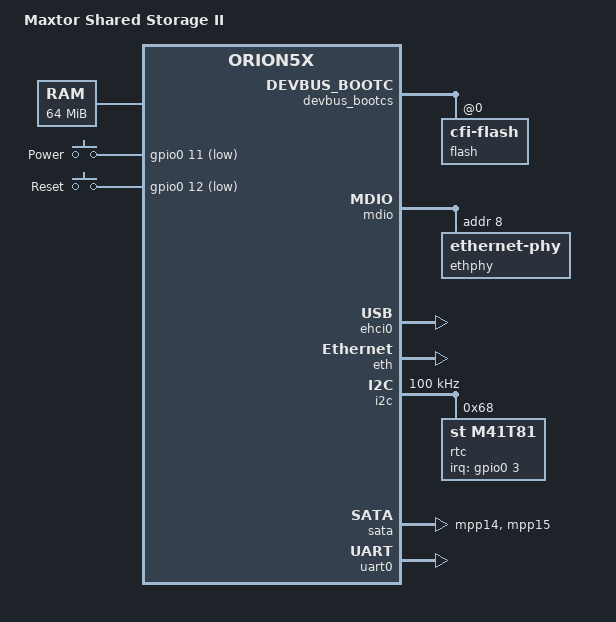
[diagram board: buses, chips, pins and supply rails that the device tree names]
/*
 * Copyright (C) 2014 Thomas Petazzoni <thomas.petazzoni@free-electrons.com>
 * Copyright (C) Sylver Bruneau <sylver.bruneau@googlemail.com>
 *
 * This file is licensed under the terms of the GNU General Public
 * License version 2. This program is licensed "as is" without any
 * warranty of any kind, whether express or implied.
 */

/dts-v1/;

#include <dt-bindings/gpio/gpio.h>
#include <dt-bindings/input/input.h>
#include <dt-bindings/interrupt-controller/irq.h>
#include "orion5x-mv88f5182.dtsi"

/ {
	model = "Maxtor Shared Storage II";
	compatible = "maxtor,shared-storage-2", "marvell,orion5x-88f5182", "marvell,orion5x";

	memory {
		reg = <0x00000000 0x4000000>; /* 64 MB */
	};

	chosen {
		bootargs = "console=ttyS0,115200n8 earlyprintk";
		stdout-path = &uart0;
	};

	soc {
		ranges = <MBUS_ID(0xf0, 0x01) 0 0xf1000000 0x100000>,
			 <MBUS_ID(0x09, 0x00) 0 0xf2200000 0x800>,
			 <MBUS_ID(0x01, 0x0f) 0 0xff800000 0x40000>;
	};

	gpio-keys {
		compatible = "gpio-keys";
		pinctrl-0 = <&pmx_buttons>;
		pinctrl-names = "default";
		#address-cells = <1>;
		#size-cells = <0>;
		power {
			label = "Power";
			linux,code = <KEY_POWER>;
			gpios = <&gpio0 11 GPIO_ACTIVE_LOW>;
		};

		reset {
			label = "Reset";
			linux,code = <KEY_RESTART>;
			gpios = <&gpio0 12 GPIO_ACTIVE_LOW>;
		};
	};
};

&devbus_bootcs {
	status = "okay";

	devbus,keep-config;

	/*
	 * Currently the MTD code does not recognize the MX29LV400CBCT
	 * as a bottom-type device. This could cause risks of
	 * accidentally erasing critical flash sectors. We thus define
	 * a single, write-protected partition covering the whole
	 * flash.  TODO: once the flash part TOP/BOTTOM detection
	 * issue is sorted out in the MTD code, break this into at
	 * least three partitions: 'u-boot code', 'u-boot environment'
	 * and 'whatever is left'.
	 */
	flash@0 {
		compatible = "cfi-flash";
		reg = <0 0x40000>;
		bank-width = <1>;
                #address-cells = <1>;
		#size-cells = <1>;
	};
};

&mdio {
	status = "okay";

	ethphy: ethernet-phy {
		reg = <8>;
	};
};

&ehci0 {
	status = "okay";
};

&eth {
	status = "okay";

	ethernet-port@0 {
		phy-handle = <&ethphy>;
	};
};

&i2c {
	status = "okay";
	clock-frequency = <100000>;
	#address-cells = <1>;

	rtc@68 {
		compatible = "st,m41t81";
		reg = <0x68>;
		pinctrl-0 = <&pmx_rtc>;
		pinctrl-names = "default";
		interrupt-parent = <&gpio0>;
		interrupts = <3 IRQ_TYPE_LEVEL_LOW>;
	};
};

&pinctrl {
	pinctrl-0 = <&pmx_leds &pmx_misc>;
	pinctrl-names = "default";

	pmx_buttons: pmx-buttons {
		marvell,pins = "mpp11", "mpp12";
		marvell,function = "gpio";
	};

	/*
	 * MPP0: Power LED
	 * MPP1: Error LED
	 */
	pmx_leds: pmx-leds {
		marvell,pins = "mpp0", "mpp1";
		marvell,function = "gpio";
	};

	/*
	 * MPP4: HDD ind. (Single/Dual)
	 * MPP5: HD0 5V control
	 * MPP6: HD0 12V control
	 * MPP7: HD1 5V control
	 * MPP8: HD1 12V control
	 */
	pmx_misc: pmx-misc {
		marvell,pins = "mpp4", "mpp5", "mpp6", "mpp7", "mpp8", "mpp10";
		marvell,function = "gpio";
	};

	pmx_rtc: pmx-rtc {
		marvell,pins = "mpp3";
		marvell,function = "gpio";
	};

	pmx_sata0_led_active: pmx-sata0-led-active {
		marvell,pins = "mpp14";
		marvell,function = "sata0";
	};

	pmx_sata1_led_active: pmx-sata1-led-active {
		marvell,pins = "mpp15";
		marvell,function = "sata1";
	};

	/*
	 * Non MPP GPIOs:
	 *  GPIO 22: USB port 1 fuse (0 = Fail, 1 = Ok)
	 *  GPIO 23: Blue front LED off
	 *  GPIO 24: Inhibit board power off (0 = Disabled, 1 = Enabled)
	 */
};

&sata {
	pinctrl-0 = <&pmx_sata0_led_active
		     &pmx_sata1_led_active>;
	pinctrl-names = "default";
	status = "okay";
	nr-ports = <2>;
};

&uart0 {
	status = "okay";
};
